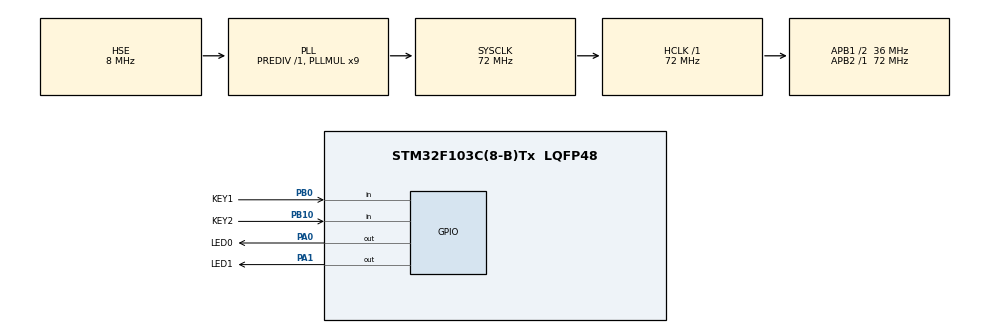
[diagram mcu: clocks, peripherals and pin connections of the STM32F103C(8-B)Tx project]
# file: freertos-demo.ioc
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FREERTOS.Tasks01=defaultTask,24,128,StartDefaultTask,Default,NULL,Dynamic,NULL,NULL
FREERTOS.configTOTAL_HEAP_SIZE=10240
Mcu.Family=STM32F1
Mcu.Name=STM32F103C(8-B)Tx
Mcu.Package=LQFP48
NVIC.PriorityGroup=NVIC_PRIORITYGROUP_4
NVIC.TIM4_IRQn=true\:15\:0\:false\:false\:true\:false\:false\:true\:true
NVIC.TimeBase=TIM4_IRQn
NVIC.TimeBaseIP=TIM4
PA0-WKUP.GPIO_Label=LED0
PA0-WKUP.GPIO_Speed=GPIO_SPEED_FREQ_HIGH
PA0-WKUP.PinState=GPIO_PIN_SET
PA0-WKUP.Signal=GPIO_Output
PA1.GPIO_Label=LED1
PA1.GPIO_Speed=GPIO_SPEED_FREQ_HIGH
PA1.PinState=GPIO_PIN_SET
PA1.Signal=GPIO_Output
PA13.Mode=Serial_Wire
PA13.Signal=SYS_JTMS-SWDIO
PA14.Mode=Serial_Wire
PA14.Signal=SYS_JTCK-SWCLK
PB0.GPIO_Label=KEY1
PB0.GPIO_PuPd=GPIO_PULLDOWN
PB0.Signal=GPIO_Input
PB10.GPIO_Label=KEY2
PB10.GPIO_PuPd=GPIO_PULLDOWN
PB10.Signal=GPIO_Input
PC14-OSC32_IN.Mode=LSE-External-Oscillator
PC14-OSC32_IN.Signal=RCC_OSC32_IN
PC15-OSC32_OUT.Mode=LSE-External-Oscillator
PC15-OSC32_OUT.Signal=RCC_OSC32_OUT
PD0-OSC_IN.Mode=HSE-External-Oscillator
PD0-OSC_IN.Signal=RCC_OSC_IN
PD1-OSC_OUT.Mode=HSE-External-Oscillator
PD1-OSC_OUT.Signal=RCC_OSC_OUT
ProjectManager.HeapSize=0x200
ProjectManager.StackSize=0x400
ProjectManager.TargetToolchain=MDK-ARM V5.32
RCC.AHBFreq_Value=72000000
RCC.APB1CLKDivider=RCC_HCLK_DIV2
RCC.APB1Freq_Value=36000000
RCC.APB1TimFreq_Value=72000000
RCC.APB2Freq_Value=72000000
RCC.APB2TimFreq_Value=72000000
RCC.HCLKFreq_Value=72000000
RCC.PLLMUL=RCC_PLL_MUL9
RCC.PLLSourceVirtual=RCC_PLLSOURCE_HSE
RCC.SYSCLKFreq_VALUE=72000000
RCC.SYSCLKSource=RCC_SYSCLKSOURCE_PLLCLK
RCC.USBFreq_Value=72000000
VP_FREERTOS_VS_CMSIS_V2.Mode=CMSIS_V2
VP_SYS_VS_tim4.Mode=TIM4
board=custom

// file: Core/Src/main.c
/* USER CODE BEGIN Header */
/**
  ******************************************************************************
  * @file           : main.c
  * @brief          : Main program body
  ******************************************************************************
  * @attention
  *
  * Copyright (c) 2026 STMicroelectronics.
  * All rights reserved.
  *
  * This software is licensed under terms that can be found in the LICENSE file
  * in the root directory of this software component.
  * If no LICENSE file comes with this software, it is provided AS-IS.
  *
  ******************************************************************************
  */
/* USER CODE END Header */
#include "main.h"
#include "cmsis_os.h"
#include "gpio.h"

/* USER CODE BEGIN Includes */
#include "task.h"
/* USER CODE END Includes */

/* USER CODE BEGIN PD */
#define START_PRIO 1
#define START_STACK_SIZE 128
TaskHandle_t StartTask_Handler;
void Start_Task(void *pvParameters);

//在搭建实物时，两个LED不要公用同一个电阻连接到GND，此行为会出现串扰导致LED0（挂起小灯）出现半亮的特殊现象
#define LED0_PRIO 2
#define LED0_STACK_SIZE 128
TaskHandle_t LED0Task_Handler;
void LED0_Task(void *pvParameters);

#define LED1_PRIO 3
#define LED1_STACK_SIZE 128
TaskHandle_t LED1Task_Handler;
void LED1_Task(void *pvParameters);

#define KEY_PRIO 4
#define KEY_STACK_SIZE 128
TaskHandle_t KEYTask_Handler;
void KEY_Task(void *pvParameters);

/* USER CODE END PD */

void SystemClock_Config(void);
void MX_FREERTOS_Init(void);

int main(void)
{

  /* MCU Configuration--------------------------------------------------------*/

  /* Reset of all peripherals, Initializes the Flash interface and the Systick. */
  HAL_Init();

  /* Configure the system clock */
  SystemClock_Config();

  /* Initialize all configured peripherals */
  MX_GPIO_Init();
  /* USER CODE BEGIN 2 */
   xTaskCreate(Start_Task,"Start_Task",START_STACK_SIZE,NULL,START_PRIO,&StartTask_Handler);
   vTaskStartScheduler();
  /* USER CODE END 2 */

  /* Init scheduler */
  osKernelInitialize();

  /* Call init function for freertos objects (in cmsis_os2.c) */
  MX_FREERTOS_Init();

  /* Start scheduler */
  osKernelStart();

  /* We should never get here as control is now taken by the scheduler */

  /* Infinite loop */
  while (1)
  {

  }
}

void SystemClock_Config(void)
{
  RCC_OscInitTypeDef RCC_OscInitStruct = {0};
  RCC_ClkInitTypeDef RCC_ClkInitStruct = {0};

  /** Initializes the RCC Oscillators according to the specified parameters
  * in the RCC_OscInitTypeDef structure.
  */
  RCC_OscInitStruct.OscillatorType = RCC_OSCILLATORTYPE_HSE;
  RCC_OscInitStruct.HSEState = RCC_HSE_ON;
  RCC_OscInitStruct.HSEPredivValue = RCC_HSE_PREDIV_DIV1;
  RCC_OscInitStruct.HSIState = RCC_HSI_ON;
  RCC_OscInitStruct.PLL.PLLState = RCC_PLL_ON;
  RCC_OscInitStruct.PLL.PLLSource = RCC_PLLSOURCE_HSE;
  RCC_OscInitStruct.PLL.PLLMUL = RCC_PLL_MUL9;
  if (HAL_RCC_OscConfig(&RCC_OscInitStruct) != HAL_OK)
  {
    Error_Handler();
  }

  /** Initializes the CPU, AHB and APB buses clocks
  */
  RCC_ClkInitStruct.ClockType = RCC_CLOCKTYPE_HCLK|RCC_CLOCKTYPE_SYSCLK
                              |RCC_CLOCKTYPE_PCLK1|RCC_CLOCKTYPE_PCLK2;
  RCC_ClkInitStruct.SYSCLKSource = RCC_SYSCLKSOURCE_PLLCLK;
  RCC_ClkInitStruct.AHBCLKDivider = RCC_SYSCLK_DIV1;
  RCC_ClkInitStruct.APB1CLKDivider = RCC_HCLK_DIV2;
  RCC_ClkInitStruct.APB2CLKDivider = RCC_HCLK_DIV1;

  if (HAL_RCC_ClockConfig(&RCC_ClkInitStruct, FLASH_LATENCY_2) != HAL_OK)
  {
    Error_Handler();
  }
}

/* USER CODE BEGIN 4 */
void Start_Task(void *pvParameters){
  taskENTER_CRITICAL();
  xTaskCreate(LED0_Task,"LED0_Task",LED0_STACK_SIZE,NULL,LED0_PRIO,&LED0Task_Handler);
  xTaskCreate(LED1_Task,"LED1_Task",LED1_STACK_SIZE,NULL,LED1_PRIO,&LED1Task_Handler);
  xTaskCreate(KEY_Task,"KEY_Task",KEY_STACK_SIZE,NULL,KEY_PRIO,&KEYTask_Handler);
  vTaskDelete(NULL);
  taskEXIT_CRITICAL();
}

void LED0_Task(void *pvParameters){
  while(1){
     HAL_GPIO_WritePin(LED0_GPIO_Port, LED0_Pin, GPIO_PIN_SET);
    osDelay(500);
    HAL_GPIO_WritePin(LED0_GPIO_Port, LED0_Pin, GPIO_PIN_RESET);
    osDelay(500);
  }
}

void LED1_Task(void *pvParameters){
  while(1){
    HAL_GPIO_WritePin(LED1_GPIO_Port, LED1_Pin, GPIO_PIN_RESET);
    osDelay(500);
    HAL_GPIO_WritePin(LED1_GPIO_Port, LED1_Pin, GPIO_PIN_SET);
    osDelay(500);
  }
}

void KEY_Task(void *pvParameters){
  uint8_t keyNum = 0;
  while(1){
    keyNum=Key_GetKeyNum();
    if(keyNum == 1){
      //����LED0����
      vTaskSuspend(LED0Task_Handler);
    }else if(keyNum == 2){
      //�ָ�LED0����
      vTaskResume(LED0Task_Handler);
    }
    osDelay(20);
  }
}
/* USER CODE END 4 */

void HAL_TIM_PeriodElapsedCallback(TIM_HandleTypeDef *htim)
{
  if (htim->Instance == TIM4) {
    HAL_IncTick();
  }
}

void Error_Handler(void)
{
  __disable_irq();
  while (1)
  {
  }
}
